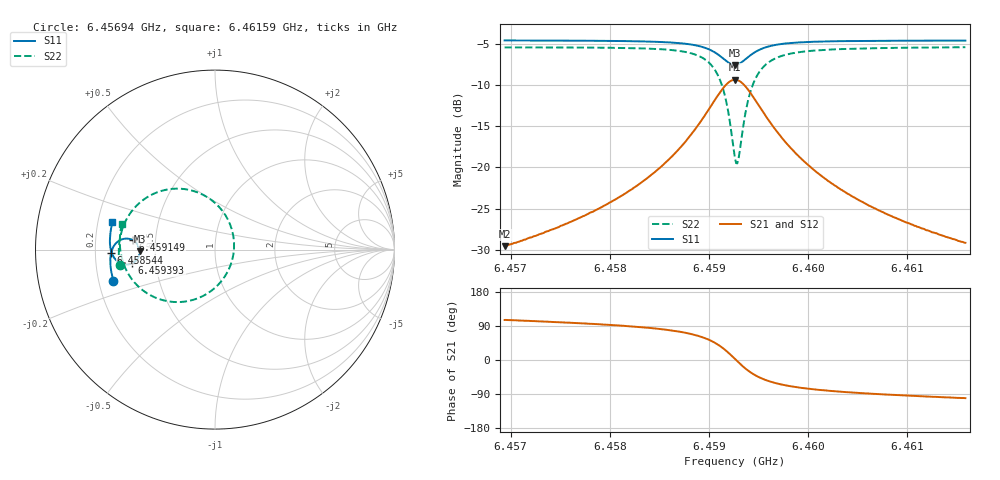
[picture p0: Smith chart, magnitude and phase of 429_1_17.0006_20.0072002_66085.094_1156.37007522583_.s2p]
#  HZ  S  RI  R  50.00
! Rohde & Schwarz Vector Network Analyzer
! Rohde-Schwarz,ZNB20-2Port,1311601062101988,3.16
! Created: UTC 3/20/2024, 11:11:16 PM
! freq[Hz]  re:S11  im:S11  re:S21  im:S21  re:S12  im:S12  re:S22  im:S22
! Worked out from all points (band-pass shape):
!   401 points, 6.45694 GHz to 6.46159 GHz, reference 50 ohm
!   highest |S21| = -9.33 dB at 6.459265 GHz (marker M1); lowest = -29.6 dB at 6.45694 GHz (marker M2)
!   |S21| within 3 dB of the highest: 6.459033 GHz to 6.459498 GHz (465.1 kHz wide, 0.0072 % of centre)
!   lowest |S11| = -7.5 dB at 6.459265 GHz (marker M3), VSWR 2.45, Z = 20.4 - j0.524 ohm
!   |S11| at or under -10 dB: nowhere
!   |S22| runs from -19.5 to -5.4 dB; largest |S21 - S12| = 0.013
!   S11 on the Smith chart (normalised r, x): 6.45694 GHz: 0.26, -0.14; 6.458544 GHz: 0.27, -0.01; 6.459149 GHz: 0.37, +0.05; 6.459393 GHz: 0.37, -0.07; 6.46159 GHz: 0.26, +0.12
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6.4569399e9  -0.5658 -0.175  -0.00894 0.032  -0.00719 0.0319  -0.5298 -0.088
6.4577188e9  -0.5803 -0.1072  -0.00588 0.0497  -0.00339 0.0491  -0.5363 0.00199
6.4581489e9  -0.5833 -0.0642  2.9e-05 0.069  0.00315 0.0677  -0.5285 0.0694
6.4584977e9  -0.5799 -0.0229  0.0134 0.0975  0.0175 0.0949  -0.504 0.1468
6.4585442e9  -0.5784 -0.0166  0.0168 0.1029  0.0209 0.1001  -0.4976 0.1599
6.4587534e9  -0.5665 0.0152  0.0425 0.1343  0.0467 0.1297  -0.4497 0.2312
6.4589046e9  -0.5455 0.0414  0.0846 0.1645  0.088 0.1579  -0.3722 0.2952
6.4590557e9  -0.4998 0.0611  0.1754 0.1836  0.1764 0.1763  -0.2064 0.3396
6.4591487e9  -0.4558 0.0513  0.2643 0.1534  0.2647 0.1474  -0.0417 0.2913
6.4591952e9  -0.4348 0.0329  0.3077 0.1112  0.309 0.1059  0.0407 0.2166
6.4592649e9  -0.4199 -0.0106  0.3411 0.0155  0.3447 0.00882  0.1061 0.0393
6.4592882e9  -0.4216 -0.0264  0.3393 -0.0195  0.3431 -0.0276  0.1024 -0.0267
6.4592998e9  -0.4237 -0.0341  0.3359 -0.0364  0.3396 -0.0453  0.0956 -0.0591
6.4593463e9  -0.4392 -0.0598  0.308 -0.0958  0.3101 -0.1075  0.0394 -0.1711
6.4593928e9  -0.4609 -0.0759  0.2666 -0.1366  0.2657 -0.1496  -0.0444 -0.2458
6.4594858e9  -0.5038 -0.0827  0.1827 -0.1679  0.1766 -0.1793  -0.2109 -0.2923
6.4596369e9  -0.5472 -0.0623  0.0956 -0.1545  0.0873 -0.1606  -0.3769 -0.2444
6.4597997e9  -0.5685 -0.0346  0.0511 -0.1271  0.0436 -0.1299  -0.4568 -0.1731
6.4600438e9  -0.5811 0.000949  0.0222 -0.0959  0.0166 -0.0965  -0.5046 -0.0915
6.4604042e9  -0.5857 0.0433  0.00598 -0.0688  0.00203 -0.0684  -0.5263 -0.0108
6.4608227e9  -0.5836 0.0852  -0.00137 -0.0512  -0.00409 -0.0504  -0.5303 0.0551
6.46159e9  -0.5711 0.1529  -0.00644 -0.0342  -0.00809 -0.0333  -0.519 0.1447
